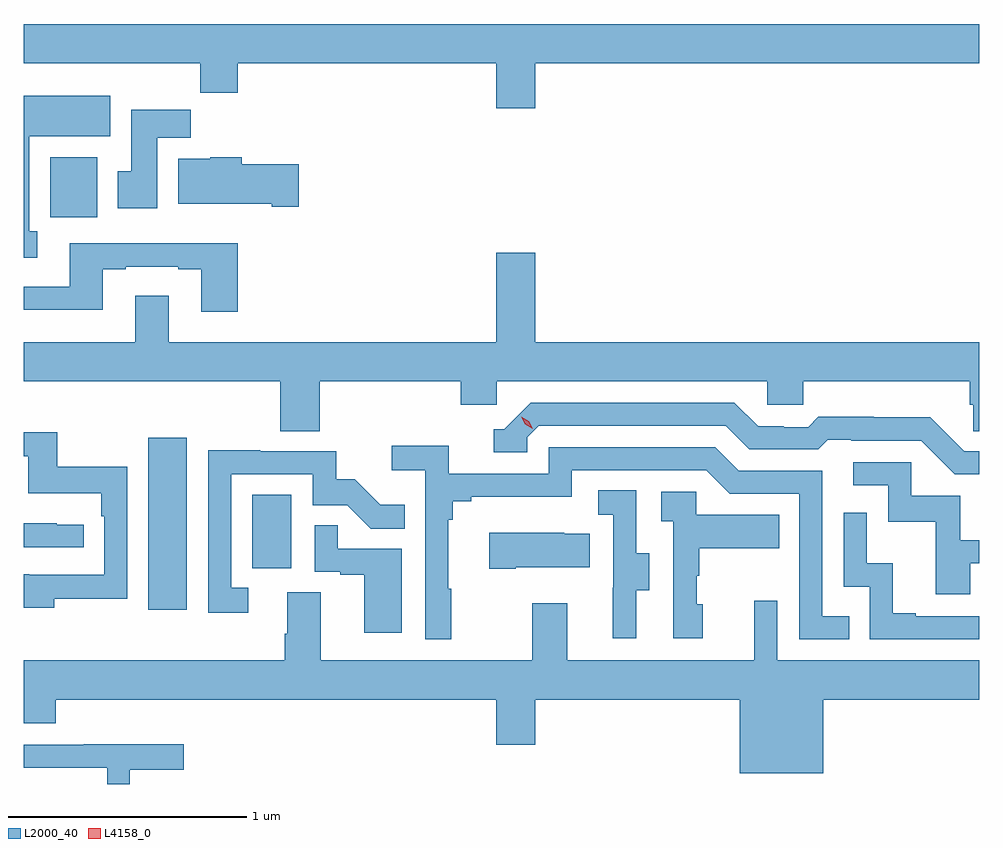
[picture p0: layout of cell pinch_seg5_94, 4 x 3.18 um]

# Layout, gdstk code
import gdstk
lib = gdstk.Library(unit=1e-6, precision=1e-09)
def R(c, l, rs):  # rectangles x0, y0, x1, y1
    for r in rs: c.add(gdstk.rectangle(r[:2], r[2:], *l))
def P(c, l, *ps):  # polygons
    for p in ps: c.add(gdstk.Polygon(p, *l))
L2000_40 = (2000, 40)
L4158_0 = (4158, 0)

pinch_seg5_94 = lib.new_cell('pinch_seg5_94')
R(pinch_seg5_94, L2000_40, [(1026.689,902.424,1026.85,903.145), (1027.124,902.598,1027.288,902.905), (1026.279,904.068,1026.475,904.318)])
P(pinch_seg5_94, L2000_40, [(1028.308,904.712),(1030.167,904.712),(1030.167,904.876),(1026.167,904.876),(1026.167,904.712),(1026.907,904.712),(1026.907,904.588),(1027.064,904.588),(1027.064,904.712),(1028.144,904.712),(1028.144,904.524),(1028.308,904.524)],
  [(1026.223,904.009),(1026.19,904.009),(1026.19,904.406),(1026.529,904.406),(1026.529,904.576),(1026.167,904.576),(1026.167,903.897),(1026.223,903.897)],
  [(1026.727,904.4),(1026.866,904.4),(1026.866,904.518),(1026.617,904.518),(1026.617,904.26),(1026.56,904.26),(1026.56,904.104),(1026.727,904.104)],
  [(1027.318,904.29),(1027.079,904.29),(1027.079,904.318),(1026.948,904.318),(1026.948,904.312),(1026.815,904.312),(1026.815,904.124),(1027.205,904.124),(1027.205,904.112),(1027.318,904.112)],
  [(1027.064,903.958),(1026.359,903.958),(1026.359,903.777),(1026.167,903.777),(1026.167,903.68),(1026.499,903.68),(1026.499,903.849),(1026.595,903.849),(1026.595,903.861),(1026.815,903.861),(1026.815,903.849),(1026.911,903.849),(1026.911,903.672),(1027.064,903.672)],
  [(1027.406,903.38),(1027.997,903.38),(1027.997,903.282),(1028.148,903.282),(1028.148,903.38),(1029.279,903.38),(1029.279,903.282),(1029.429,903.282),(1029.429,903.38),(1030.127,903.38),(1030.127,903.282),(1030.141,903.282),(1030.141,903.172),(1030.167,903.172),(1030.167,903.544),(1028.308,903.544),(1028.308,903.919),(1028.144,903.919),(1028.144,903.544),(1026.775,903.544),(1026.775,903.739),(1026.635,903.739),(1026.635,903.544),(1026.167,903.544),(1026.167,903.38),(1027.241,903.38),(1027.241,903.172),(1027.406,903.172)],
  [(1030.167,903.087),(1030.104,903.087),(1029.962,903.229),(1029.726,903.229),(1029.726,903.232),(1029.493,903.232),(1029.451,903.189),(1029.348,903.189),(1029.348,903.192),(1029.241,903.192),(1029.142,903.291),(1028.289,903.291),(1028.178,903.18),(1028.135,903.18),(1028.135,903.084),(1028.274,903.084),(1028.274,903.147),(1028.322,903.195),(1029.105,903.195),(1029.204,903.096),(1029.493,903.096),(1029.532,903.135),(1029.631,903.135),(1029.631,903.132),(1029.924,903.132),(1030.065,902.991),(1030.167,902.991)],
  [(1026.295,902.47),(1026.6,902.47),(1026.6,903.022),(1026.307,903.022),(1026.307,903.168),(1026.167,903.168),(1026.167,903.067),(1026.186,903.067),(1026.186,902.912),(1026.491,902.912),(1026.491,902.816),(1026.504,902.816),(1026.504,902.571),(1026.191,902.571),(1026.191,902.572),(1026.167,902.572),(1026.167,902.432),(1026.295,902.432)],
  [(1027.957,902.513),(1027.945,902.513),(1027.945,902.801),(1027.964,902.801),(1027.964,902.878),(1028.041,902.878),(1028.041,902.897),(1028.46,902.897),(1028.46,903.009),(1029.024,903.009),(1029.123,902.91),(1029.414,902.91),(1029.414,902.301),(1029.623,902.301),(1029.623,902.397),(1029.51,902.397),(1029.51,903.006),(1029.16,903.006),(1029.061,903.105),(1028.364,903.105),(1028.364,902.994),(1027.946,902.994),(1027.946,903.11),(1027.707,903.11),(1027.707,903.008),(1027.848,903.008),(1027.848,902.301),(1027.957,902.301)],
  [(1027.108,902.517),(1027.035,902.517),(1027.035,902.991),(1027.377,902.991),(1027.377,902.862),(1027.521,902.862),(1027.619,902.764),(1027.763,902.764),(1027.763,902.863),(1027.659,902.863),(1027.552,902.97),(1027.476,902.97),(1027.476,903.087),(1027.157,903.087),(1027.157,903.092),(1026.939,903.092),(1026.939,902.412),(1027.108,902.412)],
  [(1030.129,902.619),(1030.167,902.619),(1030.167,902.715),(1030.087,902.715),(1030.087,902.901),(1029.882,902.901),(1029.882,903.042),(1029.639,903.042),(1029.639,902.946),(1029.786,902.946),(1029.786,902.793),(1029.985,902.793),(1029.985,902.49),(1030.129,902.49)],
  [(1028.731,902.506),(1028.785,902.506),(1028.785,902.661),(1028.73,902.661),(1028.73,902.924),(1028.571,902.924),(1028.571,902.821),(1028.634,902.821),(1028.634,902.517),(1028.632,902.517),(1028.632,902.304),(1028.731,902.304)],
  [(1029.01,902.448),(1028.985,902.448),(1028.985,902.567),(1028.995,902.567),(1028.995,902.681),(1029.329,902.681),(1029.329,902.821),(1028.982,902.821),(1028.982,902.919),(1028.835,902.919),(1028.835,902.795),(1028.886,902.795),(1028.886,902.304),(1029.01,902.304)],
  [(1030.167,902.397),(1029.901,902.397),(1029.901,902.41),(1029.805,902.41),(1029.805,902.618),(1029.696,902.618),(1029.696,902.83),(1029.6,902.83),(1029.6,902.52),(1029.708,902.52),(1029.708,902.301),(1030.167,902.301)],
  [(1026.418,902.781),(1026.305,902.781),(1026.305,902.786),(1026.167,902.786),(1026.167,902.685),(1026.418,902.685)],
  [(1027.75,902.679),(1027.481,902.679),(1027.481,902.777),(1027.386,902.777),(1027.386,902.583),(1027.493,902.583),(1027.493,902.571),(1027.592,902.571),(1027.592,902.328),(1027.75,902.328)],
  [(1028.227,902.603),(1028.537,902.603),(1028.537,902.743),(1028.429,902.743),(1028.429,902.746),(1028.115,902.746),(1028.115,902.596),(1028.227,902.596)],
  [(1026.167,901.949),(1026.302,901.949),(1026.302,902.048),(1028.144,902.048),(1028.144,901.86),(1028.308,901.86),(1028.308,902.048),(1029.164,902.048),(1029.164,901.739),(1029.514,901.739),(1029.514,902.048),(1030.167,902.048),(1030.167,902.212),(1029.321,902.212),(1029.321,902.461),(1029.224,902.461),(1029.224,902.212),(1028.443,902.212),(1028.443,902.452),(1028.296,902.452),(1028.296,902.212),(1027.411,902.212),(1027.411,902.498),(1027.271,902.498),(1027.271,902.324),(1027.259,902.324),(1027.259,902.212),(1026.167,902.212)],
  [(1026.612,901.754),(1026.838,901.754),(1026.838,901.862),(1026.419,901.862),(1026.419,901.86),(1026.167,901.86),(1026.167,901.764),(1026.516,901.764),(1026.516,901.695),(1026.612,901.695)])
P(pinch_seg5_94, L4158_0, [(1028.297,903.181),(1028.266,903.2),(1028.25,903.232),(1028.25,903.232),(1028.25,903.232),(1028.281,903.213),(1028.297,903.181),(1028.297,903.181)])

lib.write_gds('pinch_seg5_94.gds')
